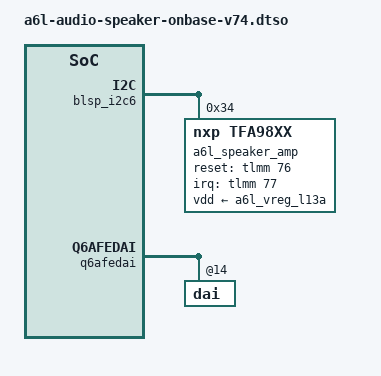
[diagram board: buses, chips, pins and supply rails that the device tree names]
// SPDX-License-Identifier: GPL-2.0-only
// V74 CANDIDATE (audio2 agent, 23 Sep 2026), never booted. VARIANT FOR A BASE THAT ALREADY CONTAINS THE V71 SOUND LINKS (base.dtb of V71 does: mm1, mm2, int0, int3).
// fdtoverlay cannot reorder or delete nodes and prepends new ones, so a plain new tert link would become link 0 and q6routing
// would probe before q6asm-dai (all MM_DL routes fail, card -19). Instead this overlay only ADDS/OVERWRITES:
//   new head node  -> MultiMedia1 FE;  old mm1-dai-link -> MultiMedia2 FE;  old mm2-dai-link -> Speaker Playback BE (tert).
// Resulting link order: MultiMedia1, MultiMedia2, Speaker Playback, Internal MI2S Playback, Internal MI2S Capture.
// If the V74 base is built WITHOUT sound links, use a6l-audio-speaker-v74.dtso instead. Adds the loudspeaker path: NXP TFA9894 smart amp (I2C 0x34 on c1b6000 = blsp_i2c6) fed by TERTIARY MI2S
// (AFE port 0x1004, LPI gpio4 SCK / gpio5 WS / gpio6 SD0 / gpio7 SD1, stock "func4").
// Needs, before the card can bind (otherwise the WHOLE card defers, headset included):
//   * pinctrl-sdm660-lpass-lpi.ko rebuilt with a6l-lpi-ter-mi2s-v74.patch (functions ter_mi2s_clk/ws/data), and
//   * snd-soc-tfa98xx.ko (tfa98xx-a6l port) loaded before the machine driver, /lib/firmware/tfa98xx.cnt (stock container).
// Stock facts (firmware/extracted/device-trees/stock-00.dts): tfa98xx@34 { vdd-supply = pm660_l13; reset-gpio = tlmm 76;
// irq-gpio = tlmm 77 }, qcom,msm-dai-q6-mi2s-tert { rx-lines = 0x2 (SD1), tx-lines = 0x1 (SD0 = amp feedback, unused here) },
// audio_platform_info: SND_DEVICE_OUT_SPEAKER -> TERT_MI2S_RX; mixer_paths "speaker": TERT_MI2S_RX Audio Mixer MultiMedia1 = 1.
// sm8250.c already handles TERTIARY_MI2S_RX (TER_MI2S_IBIT 1.536 MHz, CPU = clock master, codec BC_FC I2S).
/dts-v1/;
/plugin/;

&lpi_tlmm {
    a6l_ter_mi2s_default: a6l-ter-mi2s-default-state {
        clk-pins { pins = "gpio4"; function = "ter_mi2s_clk"; drive-strength = <8>; bias-disable; };
        ws-pins { pins = "gpio5"; function = "ter_mi2s_ws"; drive-strength = <8>; bias-disable; };
        data-pins { pins = "gpio6", "gpio7"; function = "ter_mi2s_data"; drive-strength = <8>; bias-disable; };
    };
};

&blsp_i2c6 {
    #address-cells = <1>;
    #size-cells = <0>;
    status = "okay";                               /* already okay (front ALS at 0x47) */
    a6l_speaker_amp: audio-amplifier@34 {
        compatible = "nxp,tfa98xx";                /* tfa98xx-a6l driver; also accepts "tfa,tfa9894" */
        reg = <0x34>;
        vdd-supply = <&a6l_vreg_l13a>;             /* pm660 L13 1.8 V (the driver does not switch it; already on) */
        reset-gpio = <&tlmm 76 0>;                 /* GPIO_ACTIVE_HIGH, as stock */
        irq-gpio = <&tlmm 77 0>;
        pinctrl-names = "default";
        pinctrl-0 = <&a6l_ter_mi2s_default>;       /* LPI pins muxed when the amp probes (stock switches active/sleep) */
        #sound-dai-cells = <0>;
    };
};

&q6afedai {
    #address-cells = <1>;
    #size-cells = <0>;
    dai@20 { reg = <20>; qcom,sd-lines = <1>; };      /* TERTIARY_MI2S_RX: stock rx-lines 0x2 = SD1 (gpio7) */
};

&sound {
    a6l-mm1-head-dai-link { link-name = "MultiMedia1"; cpu { sound-dai = <&q6asmdai 0>; }; };   /* prepended -> link 0 */
    mm1-dai-link { link-name = "MultiMedia2"; cpu { sound-dai = <&q6asmdai 1>; }; };            /* existing node, link 1 */
    mm2-dai-link {                                                                              /* existing node, link 2 */
        link-name = "Speaker Playback";
        cpu { sound-dai = <&q6afedai 20>; };             /* TERTIARY_MI2S_RX */
        platform { sound-dai = <&q6routing>; };
        codec { sound-dai = <&a6l_speaker_amp>; };
    };
};

/ { fragment@91 { target-path = "/chosen"; __overlay__ { hisense,a6l-audio = "a1-speaker-onbase-v74"; }; }; };
